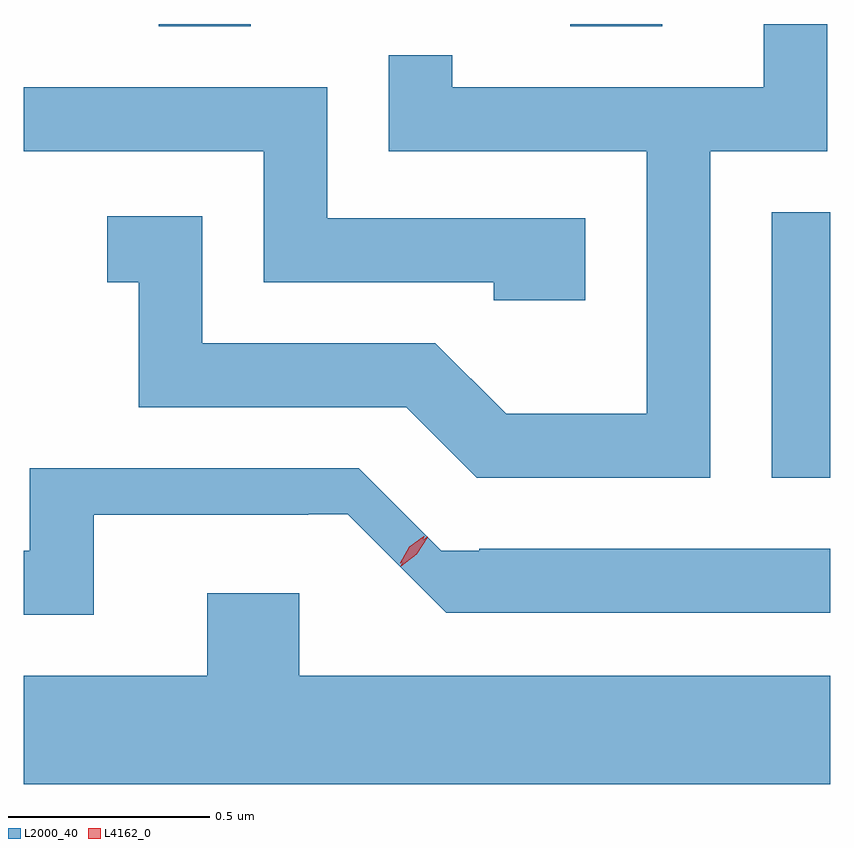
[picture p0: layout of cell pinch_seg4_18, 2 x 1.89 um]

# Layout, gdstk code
import gdstk
lib = gdstk.Library(unit=1e-6, precision=1e-09)
def R(c, l, rs):  # rectangles x0, y0, x1, y1
    for r in rs: c.add(gdstk.rectangle(r[:2], r[2:], *l))
def P(c, l, *ps):  # polygons
    for p in ps: c.add(gdstk.Polygon(p, *l))
L2000_40 = (2000, 40)
L4162_0 = (4162, 0)

pinch_seg4_18 = lib.new_cell('pinch_seg4_18')
R(pinch_seg4_18, L2000_40, [(861.331,1322.136,861.476,1322.794), (859.811,1323.256,860.039,1323.261), (860.831,1323.256,861.059,1323.261)])
P(pinch_seg4_18, L2000_40, [(861.179,1322.946),(861.469,1322.946),(861.469,1323.261),(861.311,1323.261),(861.311,1323.104),(860.539,1323.104),(860.539,1323.183),(860.381,1323.183),(860.381,1322.946),(861.021,1322.946),(861.021,1322.294),(860.672,1322.294),(860.497,1322.469),(859.919,1322.469),(859.919,1322.784),(859.683,1322.784),(859.683,1322.621),(859.761,1322.621),(859.761,1322.311),(860.424,1322.311),(860.599,1322.136),(861.179,1322.136)],
  [(860.869,1322.779),(860.229,1322.779),(860.229,1323.104),(859.476,1323.104),(859.476,1322.946),(860.071,1322.946),(860.071,1322.621),(860.641,1322.621),(860.641,1322.576),(860.869,1322.576)],
  [(859.649,1322.044),(860.182,1322.044),(860.182,1322.045),(860.28,1322.045),(860.524,1321.801),(861.476,1321.801),(861.476,1321.959),(860.605,1321.959),(860.605,1321.955),(860.511,1321.955),(860.307,1322.159),(859.491,1322.159),(859.491,1321.954),(859.476,1321.954),(859.476,1321.796),(859.649,1321.796)],
  [(861.476,1321.644),(860.159,1321.644),(860.159,1321.849),(859.931,1321.849),(859.931,1321.644),(859.476,1321.644),(859.476,1321.376),(861.476,1321.376)])
P(pinch_seg4_18, L4162_0, [(860.41,1321.924),(860.41,1321.925),(860.432,1321.964),(860.468,1321.99),(860.469,1321.99),(860.469,1321.989),(860.447,1321.95),(860.411,1321.924)],
  [(860.411,1321.916),(860.411,1321.917),(860.437,1321.959),(860.477,1321.989),(860.478,1321.989),(860.478,1321.988),(860.451,1321.946),(860.412,1321.916)])

lib.write_gds('pinch_seg4_18.gds')
